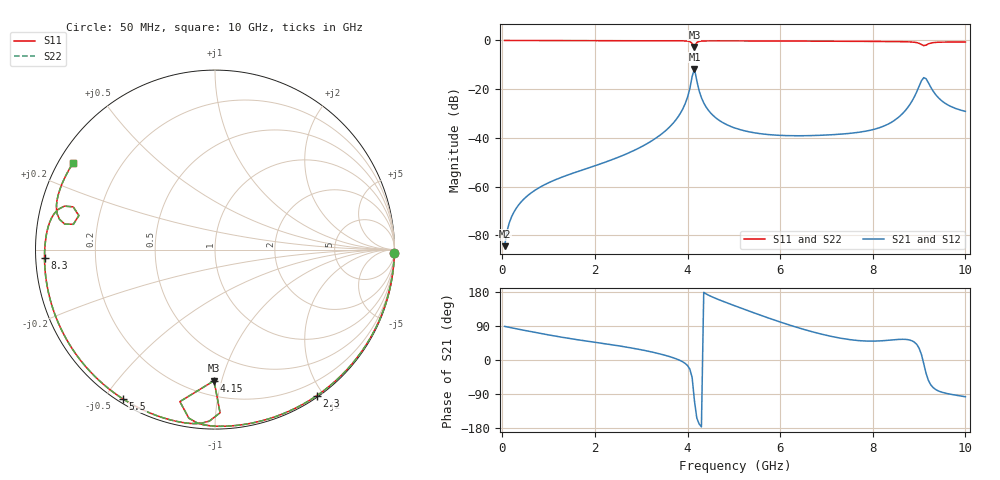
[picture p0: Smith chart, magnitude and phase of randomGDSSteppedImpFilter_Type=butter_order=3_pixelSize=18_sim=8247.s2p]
! freq	dB(S11)	phase(S11)	dB(S12)	phase(S12)
!  dB(S21)	phase(S21)	dB(S22)	phase(S22)
!S-par simulation data
#  GHz  S  DB  R 50
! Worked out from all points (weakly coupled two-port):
!   200 points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, 50 MHz to 10 GHz, reference 50 ohm
!   highest |S21| = -11.67 dB at 4.15 GHz (marker M1); lowest = -84.5 dB at 50 MHz (marker M2)
!   lowest |S11| = -2.7 dB at 4.15 GHz (marker M3), VSWR 6.43, Z = 15.1 - j47.3 ohm
!   |S11| at or under -10 dB: nowhere
!   |S22| runs from -2.7 to 0.0 dB; largest |S21 - S12| = 0
!   S11 on the Smith chart (normalised r, x): 50 MHz: 0, -92; 2.3 GHz: 0.02, -1.92; 4.15 GHz: 0.30, -0.95; 5.5 GHz: 0.02, -0.56; 8.3 GHz: 0.03, -0.02; 10 GHz: 0.04, +0.28
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0.05  -0.00 -1.2  -84.46 88.7  -84.46 88.7  -0.00 -1.2
0.25  -0.01 -6.2  -70.50 83.7  -70.50 83.7  -0.01 -6.2
0.55  -0.02 -13.5  -63.67 76.5  -63.67 76.5  -0.02 -13.5
1.75  -0.05 -42.3  -53.05 51.2  -53.05 51.2  -0.05 -42.3
2.3  -0.07 -55.1  -49.45 41.4  -49.45 41.4  -0.07 -55.1
3.4  -0.11 -79.9  -38.98 16.2  -38.98 16.2  -0.11 -79.9
3.9  -0.17 -92.2  -28.03 -5.0  -28.03 -5.0  -0.17 -92.2
4  -0.26 -95.9  -23.30 -14.7  -23.30 -14.7  -0.26 -95.9
4.1  -1.22 -103.0  -14.74 -46.6  -14.74 -46.6  -1.22 -103.0
4.15  -2.73 -90.4  -11.67 -108.3  -11.67 -108.3  -2.73 -90.4
4.25  -0.39 -91.9  -20.65 -168.7  -20.65 -168.7  -0.39 -91.9
4.4  -0.19 -97.7  -27.30 174.6  -27.30 174.6  -0.19 -97.7
4.65  -0.17 -103.9  -32.35 160.4  -32.35 160.4  -0.17 -103.9
5.05  -0.18 -112.4  -36.11 141.7  -36.11 141.7  -0.18 -112.4
5.5  -0.20 -121.5  -38.09 121.5  -38.09 121.5  -0.20 -121.6
6.7  -0.28 -145.1  -39.04 74.3  -39.04 74.3  -0.28 -145.1
8.3  -0.44 -177.3  -34.63 51.7  -34.63 51.7  -0.44 -177.3
8.35  -0.44 -178.4  -34.17 52.2  -34.17 52.2  -0.44 -178.4
8.75  -0.56 172.1  -27.67 53.9  -27.67 53.9  -0.56 172.1
9.1  -2.13 166.0  -15.26 -9.3  -15.26 -9.3  -2.15 166.0
9.5  -0.68 161.2  -24.93 -85.3  -24.93 -85.3  -0.68 161.2
10  -0.66 148.7  -29.12 -97.0  -29.12 -97.0  -0.66 148.7
